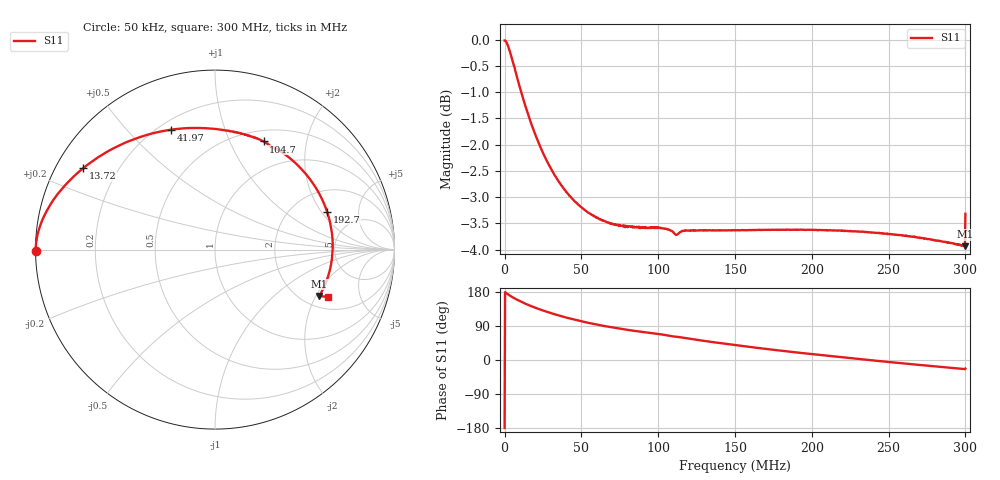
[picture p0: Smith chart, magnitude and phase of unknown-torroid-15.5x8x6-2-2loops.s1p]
# HZ S RI R 50
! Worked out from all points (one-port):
!   1010 points, 50 kHz to 300 MHz, reference 50 ohm
!   lowest |S11| = -3.9 dB at 299.7 MHz (marker M1), VSWR 4.49, Z = 123 - j107 ohm
!   |S11| at or under -10 dB: nowhere
!   S11 on the Smith chart (normalised r, x): 50 kHz: 0.00, -0.00; 13.72 MHz: 0.08, +0.28; 41.97 MHz: 0.25, +0.67; 104.7 MHz: 0.63, +1.35; 192.7 MHz: 3.03, +2.28; 300 MHz: 2.59, -2.55
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50000  -0.9983 -0.00934
941800  -0.9947 0.05
2725400  -0.9725 0.1376
4509100  -0.9395 0.2119
6590000  -0.8991 0.2793
9860000  -0.8209 0.3736
1.37246e7  -0.7346 0.4536
1.87783e7  -0.6282 0.5291
2.44265e7  -0.519 0.587
3.066928e7  -0.4106 0.6292
3.780388e7  -0.301 0.6583
4.196578e7  -0.244 0.6679
4.969488e7  -0.1483 0.677
5.742408e7  -0.0659 0.6769
7.526045e7  0.0862 0.6592
9.755613e7  0.224 0.6236
1.046907e8  0.2706 0.6028
1.127171e8  0.3163 0.571
1.305537e8  0.4224 0.5048
1.501739e8  0.5095 0.417
1.680104e8  0.5689 0.3325
1.876305e8  0.6151 0.237
1.926842e8  0.6242 0.2123
2.250871e8  0.655 0.0556
2.625438e8  0.64 -0.1135
2.982168e8  0.5839 -0.2538
2.997032e8  0.5807 -0.2588
3.000005e8  0.6298 -0.2634
